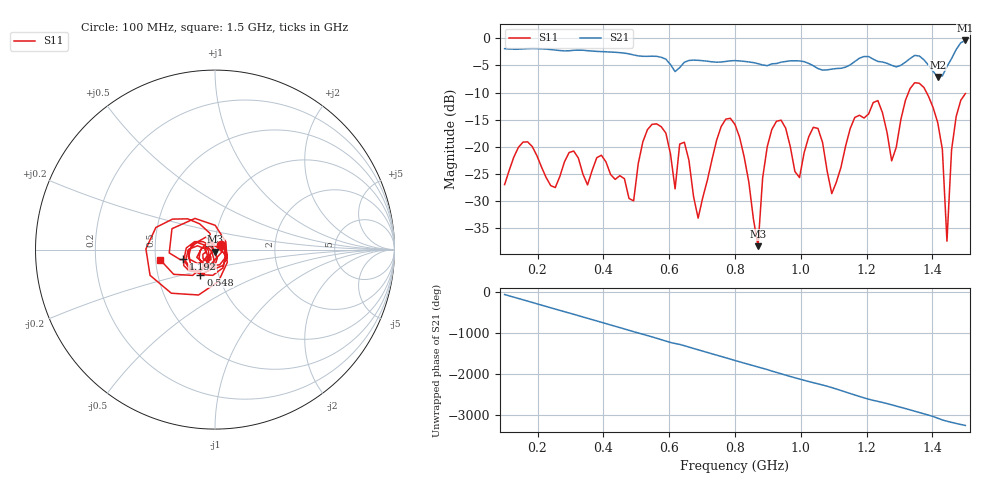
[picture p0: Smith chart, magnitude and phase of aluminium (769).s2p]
! NanoVNA-App
! Date: 2025-09-25 15:01:16
! Start: 100MHz Stop: 1,5GHz Points: 101
! S-Parameter data: F S11 S21 S12 S22
# Hz S RI R 50
!  Frequency  S11_Real  S11_Imag  S21_Real  S21_Imag  S12_Real  S12_Imag  S22_Real  S22_Imag
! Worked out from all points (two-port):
!   101 points, 100 MHz to 1.5 GHz, reference 50 ohm
!   highest |S21| = -0.41 dB at 1.5 GHz (marker M1); lowest = -7.1 dB at 1.416 GHz (marker M2)
!   |S21| within 3 dB of the highest: start of sweep to 568.1 MHz; 1.461 GHz to end of sweep (the widest 2 of 4)
!   lowest |S11| = -38.3 dB at 870 MHz (marker M3), VSWR 1.02, Z = 50.1 - j1.21 ohm
!   |S11| at or under -10 dB: start of sweep to 1.327 GHz; 1.382 GHz to end of sweep
!   S12 and S22 are empty: the file has one direction only
!   S11 on the Smith chart (normalised r, x): 100 MHz: 1.07, +0.06; 548 MHz: 0.82, -0.23; 1.192 GHz: 0.70, -0.08; 1.5 GHz: 0.53, -0.07
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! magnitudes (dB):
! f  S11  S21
! 100 MHz  -27.0  -1.9
! 156 MHz  -19.1  -2.0
! 338 MHz  -25.0  -2.2
! 492 MHz  -30.0  -3.1
! 548 MHz  -15.9  -3.3
! 576 MHz  -16.3  -3.5
! 618 MHz  -27.7  -6.1
! 646 MHz  -19.2  -4.4
! 688 MHz  -33.1  -4.1
! 800 MHz  -15.9  -4.1
! 870 MHz  -38.3  -4.7
! 912 MHz  -16.8  -4.7
! 996 MHz  -25.7  -4.2
! 1.038 GHz  -16.4  -5.1
! 1.094 GHz  -28.6  -5.7
! 1.192 GHz  -14.7  -3.4
! 1.276 GHz  -22.6  -5.0
! 1.346 GHz  -8.2  -3.2
! 1.416 GHz  -15.6  -7.1
! 1.444 GHz  -37.4  -5.2
! 1.458 GHz  -20.6  -3.7
! 1.5 GHz  -10.2  -0.4
